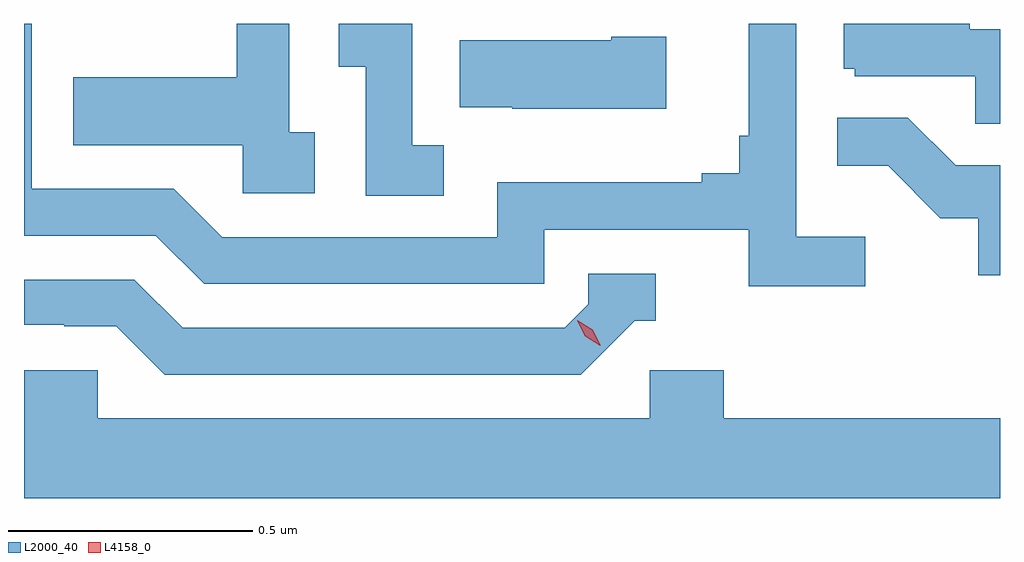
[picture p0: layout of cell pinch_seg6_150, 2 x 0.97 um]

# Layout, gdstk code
import gdstk
lib = gdstk.Library(unit=1e-6, precision=1e-09)
def P(c, l, *ps):  # polygons
    for p in ps: c.add(gdstk.Polygon(p, *l))
L2000_40 = (2000, 40)
L4158_0 = (4158, 0)

pinch_seg6_150 = lib.new_cell('pinch_seg6_150')
P(pinch_seg6_150, L2000_40, [(961.924,922.564),(961.782,922.564),(961.782,923),(961.685,923),(961.685,922.771),(961.666,922.771),(961.666,922.694),(961.589,922.694),(961.589,922.675),(961.17,922.675),(961.17,922.563),(960.606,922.563),(960.507,922.662),(960.216,922.662),(960.216,923),(960.2,923),(960.2,922.566),(960.47,922.566),(960.569,922.467),(961.266,922.467),(961.266,922.578),(961.685,922.578),(961.685,922.462),(961.924,922.462)],
  [(960.796,922.778),(960.744,922.778),(960.744,923),(960.636,923),(960.636,922.891),(960.301,922.891),(960.301,922.751),(960.648,922.751),(960.648,922.653),(960.796,922.653)],
  [(962.2,922.989),(962.138,922.989),(962.138,923),(961.88,923),(961.88,922.908),(961.902,922.908),(961.902,922.893),(962.149,922.893),(962.149,922.795),(962.2,922.795)],
  [(961.06,922.751),(960.996,922.751),(960.996,923),(960.845,923),(960.845,922.912),(960.9,922.912),(960.9,922.648),(961.06,922.648)],
  [(961.516,922.974),(961.403,922.974),(961.403,922.966),(961.093,922.966),(961.093,922.829),(961.201,922.829),(961.201,922.826),(961.516,922.826)],
  [(962.2,922.71),(962.109,922.71),(962.011,922.808),(961.867,922.808),(961.867,922.709),(961.971,922.709),(962.078,922.602),(962.155,922.602),(962.155,922.485),(962.2,922.485)],
  [(961.452,922.392),(961.495,922.392),(961.495,922.488),(961.356,922.488),(961.356,922.425),(961.308,922.377),(960.525,922.377),(960.426,922.476),(960.2,922.476),(960.2,922.383),(960.282,922.383),(960.282,922.38),(960.389,922.38),(960.488,922.281),(961.341,922.281)],
  [(962.2,922.192),(961.634,922.192),(961.634,922.29),(961.482,922.29),(961.482,922.192),(960.351,922.192),(960.351,922.29),(960.201,922.29),(960.201,922.192),(960.2,922.192),(960.2,922.028),(962.2,922.028)])
P(pinch_seg6_150, L4158_0, [(961.381,922.34),(961.35,922.36),(961.334,922.392),(961.334,922.393),(961.334,922.393),(961.365,922.373),(961.381,922.341),(961.381,922.34)])

lib.write_gds('pinch_seg6_150.gds')
